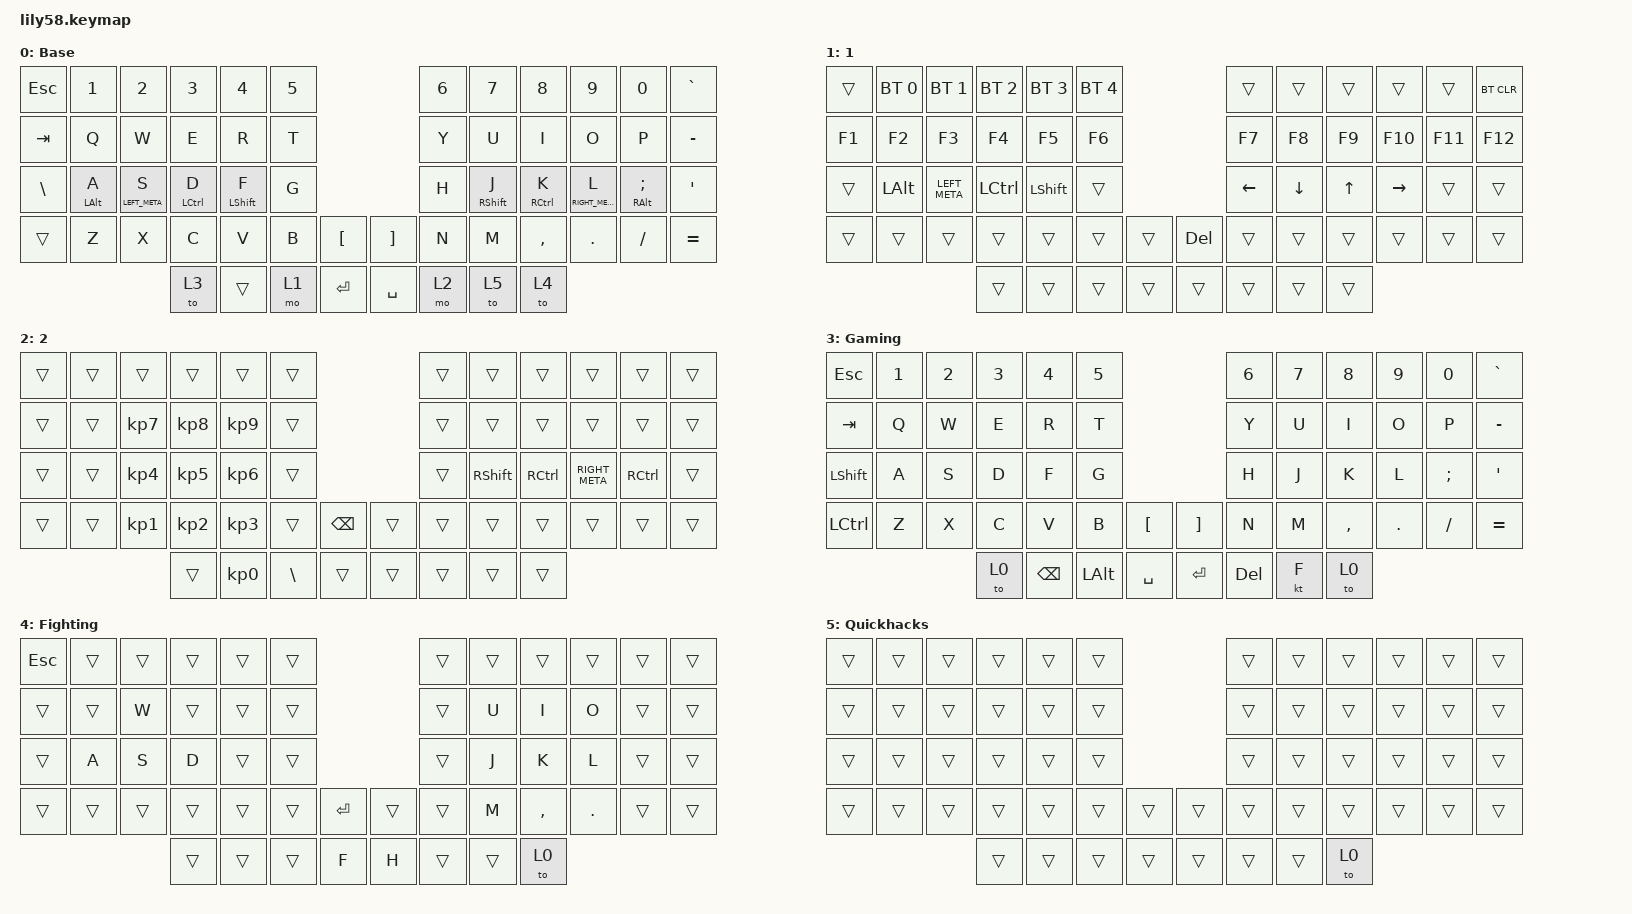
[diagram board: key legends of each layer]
/*
 * Copyright (c) 2020 The ZMK Contributors
 *
 * SPDX-License-Identifier: MIT
 */

#include <behaviors.dtsi>
#include <dt-bindings/zmk/bt.h>
#include <dt-bindings/zmk/keys.h>

/ {
    behaviors {
        newmh: newmh {
            compatible = "zmk,behavior-hold-tap";
            label = "NEWMH";
            bindings = <&kp>, <&kp>;

            #binding-cells = <2>;
            tapping-term-ms = <200>;
            flavor = "tap-preferred";
        };
    };

    keymap {
        compatible = "zmk,keymap";

        default_layer {
            // ------------------------------------------------------------------------------------------------------------
            // |  ESC  |  1  |  2  |  3   |  4   |  5   |                   |  6   |  7    |  8    |  9   |   0   |   `   |
            // |  TAB  |  Q  |  W  |  E   |  R   |  T   |                   |  Y   |  U    |  I    |  O   |   P   |   -   |
            // |  CTRL |  A  |  S  |  D   |  F   |  G   |                   |  H   |  J    |  K    |  L   |   ;   |   '   |
            // | SHIFT |  Z  |  X  |  C   |  V   |  B   |   "["  |  |  "]"  |  N   |  M    |  ,    |  .   |   /   | SHIFT |
            //                     | ALT  | GUI  | LOWER|  SPACE |  | ENTER | RAISE| BSPC  | GUI   |

            display-name = "Base";
            bindings = <
&kp ESC        &kp NUMBER_1       &kp N2              &kp N3          &kp N4               &kp N5                          &kp N6  &kp N7                &kp N8          &kp N9               &kp N0                      &kp GRAVE
&kp TAB        &kp Q              &kp W               &kp E           &kp R                &kp T                           &kp Y   &kp U                 &kp I           &kp O                &kp P                       &kp MINUS
&kp BACKSLASH  &newmh LEFT_ALT A  &newmh LEFT_META S  &newmh LCTRL D  &newmh LEFT_SHIFT F  &kp G                           &kp H   &newmh RIGHT_SHIFT J  &newmh RCTRL K  &newmh RIGHT_META L  &newmh RIGHT_ALT SEMICOLON  &kp SQT
&trans         &kp Z              &kp X               &kp C           &kp V                &kp B   &kp LBKT     &kp RBKT   &kp N   &kp M                 &kp COMMA       &kp DOT              &kp FSLH                    &kp EQUAL
                                                      &to 3           &trans               &mo 1   &kp ENTER    &kp SPACE  &mo 2   &to 5                 &to 4
            >;
        };

        layer1 {
            // ------------------------------------------------------------------------------------------------------------
            // | BTCLR | BT1 | BT2 |  BT3 |  BT4 |  BT5 |                   |      |       |       |      |       |       |
            // |  F1   |  F2 |  F3 |  F4  |  F5  |  F6  |                   |  F7  |  F8   |  F9   |  F10 |  F11  |  F12  |
            // |   `   |  !  |  @  |  #   |  $   |  %   |                   |  ^   |  &    |  *    |  (   |   )   |   ~   |
            // |       |     |     |      |      |      |        |  |       |      |  _    |  +    |  {   |   }   |  "|"  |
            //                     |      |      |      |        |  |       |      |       |       |

            display-name = "1";
            bindings = <
&trans  &bt BT_SEL 0  &bt BT_SEL 1   &bt BT_SEL 2  &bt BT_SEL 3    &bt BT_SEL 4                     &trans    &trans    &trans        &trans     &trans   &bt BT_CLR
&kp F1  &kp F2        &kp F3         &kp F4        &kp F5          &kp F6                           &kp F7    &kp F8    &kp F9        &kp F10    &kp F11  &kp F12
&trans  &kp LEFT_ALT  &kp LEFT_META  &kp LCTRL     &kp LEFT_SHIFT  &trans                           &kp LEFT  &kp DOWN  &kp UP_ARROW  &kp RIGHT  &trans   &trans
&trans  &trans        &trans         &trans        &trans          &trans        &trans    &kp DEL  &trans    &trans    &trans        &trans     &trans   &trans
                                     &trans        &trans          &trans        &trans    &trans   &trans    &trans    &trans
            >;
        };

        layer2 {
            // ------------------------------------------------------------------------------------------------------------
            // |       |     |     |      |      |      |                   |      |       |       |      |       |       |
            // |   `   |  1  |  2  |  3   |  4   |  5   |                   |  6   |   7   |   8   |  9   |   0   |       |
            // |   F1  |  F2 |  F3 |  F4  |  F5  |  F6  |                   |      |   <-  |   v   |  ^   |  ->   |       |
            // |   F7  |  F8 |  F9 |  F10 |  F11 |  F12 |        |  |       |  +   |   -   |   =   |  [   |   ]   |   \   |
            //                     |      |      |      |        |  |       |      |       |       |

            display-name = "2";
            bindings = <
&trans  &trans  &trans           &trans           &trans           &trans                                  &trans  &trans           &trans     &trans          &trans     &trans
&trans  &trans  &kp KP_NUMBER_7  &kp KP_NUMBER_8  &kp KP_NUMBER_9  &trans                                  &trans  &trans           &trans     &trans          &trans     &trans
&trans  &trans  &kp KP_NUMBER_4  &kp KP_NUMBER_5  &kp KP_NUMBER_6  &trans                                  &trans  &kp RIGHT_SHIFT  &kp RCTRL  &kp RIGHT_META  &kp RCTRL  &trans
&trans  &trans  &kp KP_NUMBER_1  &kp KP_NUMBER_2  &kp KP_NUMBER_3  &trans         &kp BACKSPACE    &trans  &trans  &trans           &trans     &trans          &trans     &trans
                                 &trans           &kp KP_NUMBER_0  &kp BACKSLASH  &trans           &trans  &trans  &trans           &trans
            >;
        };

        gaming {
            display-name = "Gaming";
            bindings = <
&kp ESC         &kp NUMBER_1  &kp N2  &kp N3  &kp N4         &kp N5                                &kp N6   &kp N7  &kp N8     &kp N9   &kp N0         &kp GRAVE
&kp TAB         &kp Q         &kp W   &kp E   &kp R          &kp T                                 &kp Y    &kp U   &kp I      &kp O    &kp P          &kp MINUS
&kp LEFT_SHIFT  &kp A         &kp S   &kp D   &kp F          &kp G                                 &kp H    &kp J   &kp K      &kp L    &kp SEMICOLON  &kp SQT
&kp LCTRL       &kp Z         &kp X   &kp C   &kp V          &kp B         &kp LBKT     &kp RBKT   &kp N    &kp M   &kp COMMA  &kp DOT  &kp FSLH       &kp EQUAL
                                      &to 0   &kp BACKSPACE  &kp LEFT_ALT  &kp SPACE    &kp ENTER  &kp DEL  &kt F   &to 0
            >;
        };

        fighting {
            bindings = <
&kp ESCAPE  &trans  &trans  &trans  &trans  &trans                       &trans  &trans  &trans     &trans   &trans  &trans
&trans      &trans  &kp W   &trans  &trans  &trans                       &trans  &kp U   &kp I      &kp O    &trans  &trans
&trans      &kp A   &kp S   &kp D   &trans  &trans                       &trans  &kp J   &kp K      &kp L    &trans  &trans
&trans      &trans  &trans  &trans  &trans  &trans  &kp ENTER    &trans  &trans  &kp M   &kp COMMA  &kp DOT  &trans  &trans
                            &trans  &trans  &trans  &kp F        &kp H   &trans  &trans  &to 0
            >;

            label = "Fighting";
        };

        quickhacks {
            bindings = <
&trans  &trans  &trans  &trans  &trans  &trans                    &trans  &trans  &trans  &trans  &trans  &trans
&trans  &trans  &trans  &trans  &trans  &trans                    &trans  &trans  &trans  &trans  &trans  &trans
&trans  &trans  &trans  &trans  &trans  &trans                    &trans  &trans  &trans  &trans  &trans  &trans
&trans  &trans  &trans  &trans  &trans  &trans  &trans    &trans  &trans  &trans  &trans  &trans  &trans  &trans
                        &trans  &trans  &trans  &trans    &trans  &trans  &trans  &to 0
            >;

            label = "Quickhacks";
        };
    };
};
